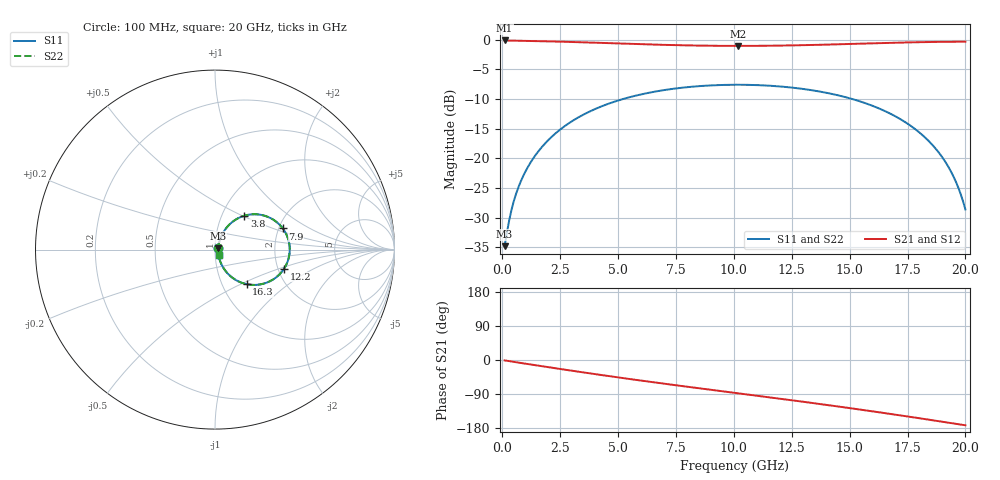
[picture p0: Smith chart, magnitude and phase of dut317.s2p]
! Touchstone file exported from HFSS 2026.1.0
!  File:  C:/ffzhzh/LocalFiles/Ansys_Project_Files/temp_train_TSV_RDL_317_1783030821_53980.aedt
!  Generated:  06:32:53 AM Jul  3, 2026
!  Design:  TSV_RDL
!  Project:  temp_train_TSV_RDL_317_1783030821_53980
! Variables:
!  h_bsmrdl = 2.49um
!  h_ox = 20um
!  h_rdl = 5um
!  h_sub = 66.82um
!  h_tmrdl = 2.22um
!  h_tsv = 66.82um
!  h_via = 3um
!  l_bsmrdl = 122.47um
!  l_sub = 2958.57um
!  l_tmrdl = 511.01um
!  m_sub = 200um
!  pitch = 44.93um
!  r_tsv = 7.56um
!  s_tmrdl = 10um
!  w_bsmrdl = 20.62um
!  w_sub = 500um
!  w_tmrdl = 28.42um
!  x_tsv_center1 = 525.22um
!  x_tsv_center2 = 668.31um
!  x_tsv_center3 = 1207.74um
!  x_tsv_center4 = 1350.83um
!  x_tsv_center5 = 1890.26um
!  x_tsv_center6 = 2033.35um
# GHz S MA R 50.000000
! Terminal data exported
! Port[1] = TM_RDL1_1_T1
! Port[2] = TM_RDL5_1_T1
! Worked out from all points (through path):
!   200 points, 100 MHz to 20 GHz, reference 50 ohm
!   highest |S21| = -0.14 dB at 100 MHz (marker M1); lowest = -1.1 dB at 10.2 GHz (marker M2)
!   group delay of S21, straight-line fit = 23.2 ps
!   lowest |S11| = -34.8 dB at 100 MHz (marker M3), VSWR 1.04, Z = 51.6 + j0.845 ohm
!   |S11| at or under -10 dB: start of sweep to 5.227 GHz; 15.1 GHz to end of sweep
!   |S22| runs from -34.8 to -7.6 dB; largest |S21 - S12| = 1.6e-13
!   S11 on the Smith chart (normalised r, x): 100 MHz: 1.03, +0.02; 3.8 GHz: 1.27, +0.51; 7.9 GHz: 2.10, +0.59; 12.2 GHz: 2.16, -0.54; 16.3 GHz: 1.30, -0.54; 20 GHz: 1.04, -0.07
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0.1  0.01814 26.8  0.9839 -1.0  0.9839 -1.0  0.01814 26.8
! Gamma 0 0 0 0
! Port Impedance 50 0 50 0
0.3  0.03011 51.6  0.9823 -3.0  0.9823 -3.0  0.03011 51.6
0.5  0.04372 59.3  0.9802 -5.0  0.9802 -5.0  0.04372 59.3
0.8  0.06392 63.5  0.9774 -7.8  0.9774 -7.8  0.06392 63.5
1.2  0.09067 64.6  0.9741 -11.6  0.9741 -11.6  0.09067 64.6
2.2  0.1559 60.6  0.9648 -20.9  0.9648 -20.9  0.1559 60.6
3.5  0.233 51.5  0.9489 -32.8  0.9489 -32.8  0.233 51.5
3.8  0.2491 49.2  0.9449 -35.4  0.9449 -35.4  0.2491 49.2
5.3  0.3192 37.5  0.924 -48.5  0.924 -48.5  0.3192 37.5
6.8  0.3704 25.7  0.9053 -61.0  0.9053 -61.0  0.3703 25.8
7.9  0.3957 17.3  0.8948 -69.9  0.8948 -69.9  0.3957 17.3
10.1  0.4164 0.6  0.8853 -87.2  0.8853 -87.2  0.4164 0.7
10.2  0.4165 -0.1  0.8853 -88.0  0.8853 -88.0  0.4164 -0.1
12.2  0.3995 -15.3  0.8917 -103.8  0.8917 -103.8  0.3995 -15.3
13.4  0.3736 -24.6  0.9014 -113.5  0.9014 -113.5  0.3736 -24.5
14.9  0.3243 -36.4  0.9176 -126.0  0.9176 -126.0  0.3242 -36.3
16.3  0.2614 -47.5  0.9343 -138.2  0.9343 -138.2  0.2614 -47.5
16.7  0.2407 -50.7  0.9388 -141.7  0.9388 -141.7  0.2406 -50.6
17.9  0.1718 -59.8  0.9507 -152.6  0.9507 -152.6  0.1718 -59.7
18.8  0.1151 -65.2  0.9569 -161.0  0.9569 -161.0  0.115 -65.0
19.5  0.06919 -66.1  0.9596 -167.6  0.9596 -167.6  0.06916 -65.8
20  0.03704 -58.0  0.9602 -172.3  0.9602 -172.3  0.03706 -57.6
